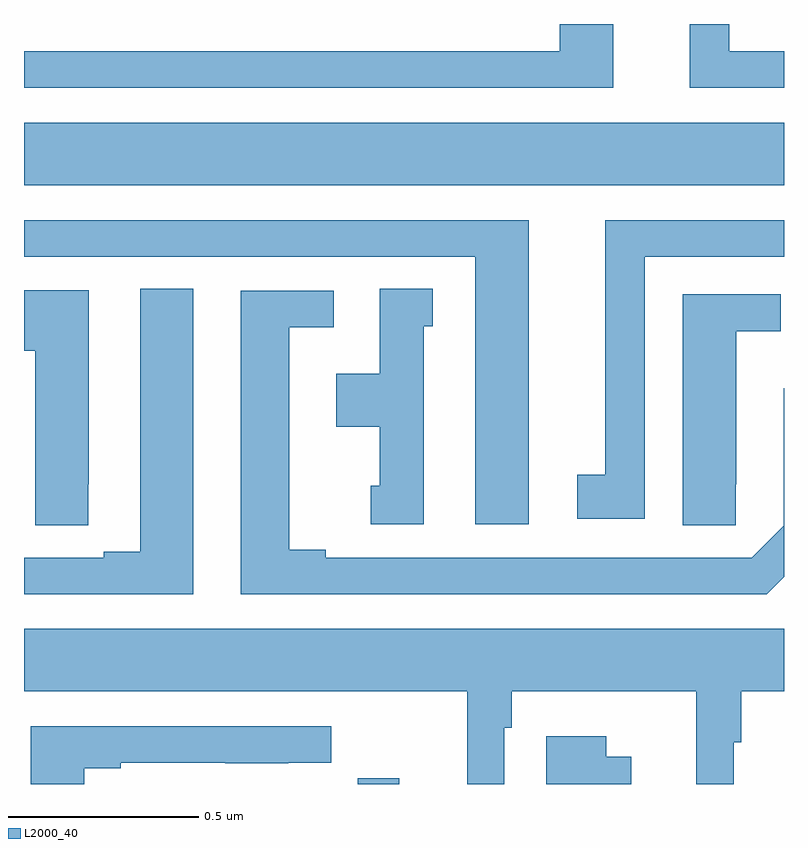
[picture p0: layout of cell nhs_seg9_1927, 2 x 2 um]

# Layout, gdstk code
import gdstk
lib = gdstk.Library(unit=1e-6, precision=1e-09)
def R(c, l, rs):  # rectangles x0, y0, x1, y1
    for r in rs: c.add(gdstk.rectangle(r[:2], r[2:], *l))
def P(c, l, *ps):  # polygons
    for p in ps: c.add(gdstk.Polygon(p, *l))
L2000_40 = (2000, 40)

nhs_seg9_1927 = lib.new_cell('nhs_seg9_1927')
R(nhs_seg9_1927, L2000_40, [(134.878,1205.5,134.987,1205.515), (134,1207.076,136,1207.24)])
P(nhs_seg9_1927, L2000_40, [(136,1207.428),(135.856,1207.428),(135.856,1207.5),(135.752,1207.5),(135.752,1207.332),(136,1207.332)],
  [(135.55,1207.5),(135.41,1207.5),(135.41,1207.428),(134,1207.428),(134,1207.332),(135.55,1207.332)],
  [(135.328,1206.984),(134,1206.984),(134,1206.888),(135.188,1206.888),(135.188,1206.183),(135.328,1206.183)],
  [(135.634,1206.888),(136,1206.888),(136,1206.984),(135.53,1206.984),(135.53,1206.314),(135.456,1206.314),(135.456,1206.198),(135.634,1206.198)],
  [(135.052,1206.705),(135.076,1206.705),(135.076,1206.803),(134.936,1206.803),(134.936,1206.58),(134.822,1206.58),(134.822,1206.44),(134.936,1206.44),(134.936,1206.285),(134.912,1206.285),(134.912,1206.183),(135.052,1206.183)],
  [(134.446,1206.803),(134.306,1206.803),(134.306,1206.111),(134.21,1206.111),(134.21,1206.096),(134,1206.096),(134,1206),(134.446,1206)],
  [(134.169,1206.289),(134.17,1206.289),(134.17,1206.799),(134,1206.799),(134,1206.64),(134.03,1206.64),(134.03,1206.181),(134.169,1206.181)],
  [(136,1206.045),(136,1206.541),(135.999,1206.541),(135.999,1206.18),(135.915,1206.096),(134.794,1206.096),(134.794,1206.116),(134.698,1206.116),(134.698,1206.702),(134.815,1206.702),(134.815,1206.798),(134.57,1206.798),(134.57,1206),(135.955,1206)],
  [(135.873,1206.289),(135.874,1206.289),(135.874,1206.692),(135.991,1206.692),(135.991,1206.789),(135.734,1206.789),(135.734,1206.181),(135.873,1206.181)],
  [(135.264,1205.648),(135.284,1205.648),(135.284,1205.744),(135.769,1205.744),(135.769,1205.5),(135.868,1205.5),(135.868,1205.61),(135.887,1205.61),(135.887,1205.744),(136,1205.744),(136,1205.908),(134,1205.908),(134,1205.744),(135.167,1205.744),(135.167,1205.5),(135.264,1205.5)],
  [(134.158,1205.541),(134.254,1205.541),(134.254,1205.556),(134.53,1205.556),(134.53,1205.555),(134.696,1205.555),(134.696,1205.556),(134.809,1205.556),(134.809,1205.652),(134.018,1205.652),(134.018,1205.5),(134.158,1205.5)],
  [(135.598,1205.572),(135.532,1205.572),(135.532,1205.626),(135.374,1205.626),(135.374,1205.5),(135.598,1205.5)])

lib.write_gds('nhs_seg9_1927.gds')
